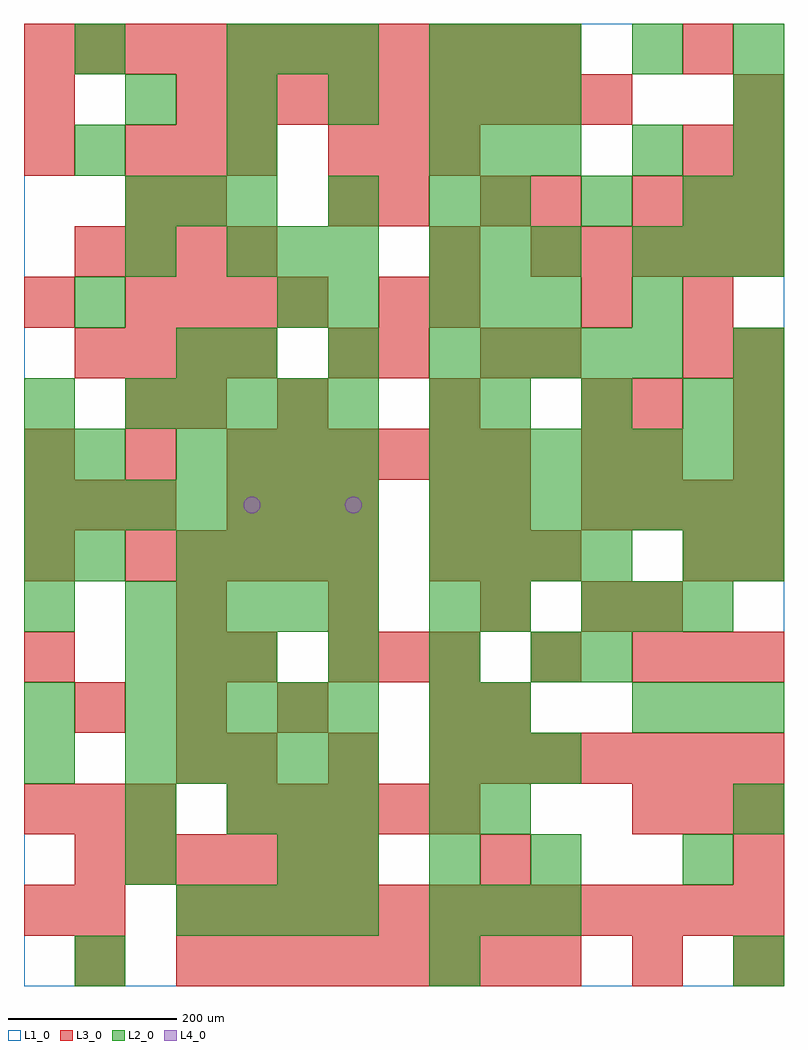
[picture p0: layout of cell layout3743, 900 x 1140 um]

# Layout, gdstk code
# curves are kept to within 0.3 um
import gdstk
lib = gdstk.Library(unit=1e-6, precision=1e-09)
def R(c, l, rs):  # rectangles x0, y0, x1, y1
    for r in rs: c.add(gdstk.rectangle(r[:2], r[2:], *l))
def A(c, l, x, y, w, h, nx, ny, dx, dy):  # array of equal rectangles
    R(c, l, [(x+i*dx, y+j*dy, x+i*dx+w, y+j*dy+h) for i in range(nx) for j in range(ny)])
def P(c, l, *ps):  # polygons
    for p in ps: c.add(gdstk.Polygon(p, *l))
L1_0 = (1, 0)
L2_0 = (2, 0)
L3_0 = (3, 0)
L4_0 = (4, 0)

layout3743 = lib.new_cell('layout3743')
R(layout3743, L1_0, [(0,0,900,1140)])
A(layout3743, L2_0, 180, 60, 60, 60, 4, 2, 60, 420)
A(layout3743, L2_0, 480, 60, 60, 60, 3, 2, 60, 180)
A(layout3743, L2_0, 360, 120, 60, 60, 3, 2, 120, 240)
A(layout3743, L2_0, 240, 180, 60, 60, 3, 2, 60, 660)
A(layout3743, L2_0, 480, 180, 60, 60, 1, 3, 0, 120)
A(layout3743, L2_0, 540, 180, 60, 60, 1, 3, 0, 120)
A(layout3743, L2_0, 120, 240, 60, 60, 5, 2, 60, 60)
A(layout3743, L2_0, 720, 300, 60, 60, 3, 2, 60, 540)
A(layout3743, L2_0, 120, 360, 60, 60, 3, 2, 60, 540)
A(layout3743, L2_0, 120, 420, 60, 60, 5, 2, 60, 240)
A(layout3743, L2_0, 660, 420, 60, 60, 3, 1, 60, 0)
A(layout3743, L2_0, 480, 480, 60, 60, 4, 1, 60, 0)
A(layout3743, L2_0, 0, 540, 60, 60, 7, 1, 60, 0)
A(layout3743, L2_0, 480, 540, 60, 60, 7, 2, 60, 60)
A(layout3743, L2_0, 60, 600, 60, 60, 1, 3, 0, 180)
A(layout3743, L2_0, 180, 600, 60, 60, 4, 1, 60, 0)
A(layout3743, L2_0, 540, 660, 60, 60, 3, 2, 120, 240)
A(layout3743, L2_0, 240, 720, 60, 60, 3, 1, 120, 0)
A(layout3743, L2_0, 540, 720, 60, 60, 4, 1, 60, 0)
A(layout3743, L2_0, 480, 780, 60, 60, 3, 2, 60, 60)
A(layout3743, L2_0, 840, 900, 60, 60, 1, 4, 0, 60)
A(layout3743, L2_0, 480, 960, 60, 60, 3, 2, 60, 120)
A(layout3743, L2_0, 120, 1020, 60, 60, 4, 1, 120, 0)
A(layout3743, L2_0, 240, 1080, 60, 60, 3, 1, 60, 0)
R(layout3743, L2_0, [(60,0,120,60), (480,0,540,60), (840,0,900,60), (120,120,180,180), (300,120,360,180), (780,120,840,180), (120,180,180,240), (840,180,900,240), (0,240,60,300), (0,300,60,360), (660,360,720,420), (0,420,60,480), (0,480,60,540), (60,480,120,540), (780,480,840,540), (840,480,900,540), (0,600,60,660), (0,660,60,720), (480,660,540,720), (840,660,900,720), (180,720,240,780), (840,720,900,780), (300,780,360,840), (360,780,420,840), (720,780,780,840), (120,840,180,900), (360,900,420,960), (480,900,540,960), (240,960,300,1020), (720,960,780,1020), (540,1020,600,1080), (600,1020,660,1080), (60,1080,120,1140), (720,1080,780,1140)])
A(layout3743, L3_0, 180, 0, 60, 60, 8, 1, 60, 0)
A(layout3743, L3_0, 180, 60, 60, 60, 12, 1, 60, 0)
A(layout3743, L3_0, 60, 120, 60, 60, 6, 1, 60, 0)
A(layout3743, L3_0, 0, 180, 60, 60, 3, 2, 60, 360)
A(layout3743, L3_0, 240, 180, 60, 60, 5, 1, 60, 0)
A(layout3743, L3_0, 720, 180, 60, 60, 3, 2, 60, 180)
A(layout3743, L3_0, 240, 240, 60, 60, 3, 1, 120, 0)
A(layout3743, L3_0, 540, 240, 60, 60, 6, 1, 60, 0)
A(layout3743, L3_0, 60, 300, 60, 60, 3, 1, 120, 0)
A(layout3743, L3_0, 480, 300, 60, 60, 1, 3, 0, 240)
A(layout3743, L3_0, 360, 360, 60, 60, 3, 2, 60, 600)
A(layout3743, L3_0, 180, 420, 60, 60, 3, 1, 180, 0)
A(layout3743, L3_0, 660, 420, 60, 60, 1, 3, 0, 180)
A(layout3743, L3_0, 120, 480, 60, 60, 5, 1, 60, 0)
A(layout3743, L3_0, 480, 480, 60, 60, 3, 1, 60, 0)
A(layout3743, L3_0, 240, 540, 60, 60, 3, 1, 60, 0)
A(layout3743, L3_0, 540, 540, 60, 60, 1, 3, 0, 180)
A(layout3743, L3_0, 660, 540, 60, 60, 4, 1, 60, 0)
A(layout3743, L3_0, 0, 600, 60, 60, 3, 1, 120, 0)
A(layout3743, L3_0, 300, 600, 60, 60, 5, 1, 60, 0)
A(layout3743, L3_0, 840, 600, 60, 60, 1, 3, 0, 60)
A(layout3743, L3_0, 300, 660, 60, 60, 3, 1, 180, 0)
A(layout3743, L3_0, 60, 720, 60, 60, 4, 2, 60, 120)
A(layout3743, L3_0, 120, 780, 60, 60, 4, 1, 60, 0)
A(layout3743, L3_0, 600, 840, 60, 60, 5, 1, 60, 0)
A(layout3743, L3_0, 720, 900, 60, 60, 3, 1, 60, 0)
A(layout3743, L3_0, 120, 960, 60, 60, 3, 1, 60, 0)
A(layout3743, L3_0, 180, 1020, 60, 60, 9, 1, 60, 0)
A(layout3743, L3_0, 0, 1080, 60, 60, 11, 1, 60, 0)
R(layout3743, L3_0, [(60,0,120,60), (720,0,780,60), (840,0,900,60), (0,60,60,120), (60,60,120,120), (540,120,600,180), (840,120,900,180), (180,240,240,300), (540,300,600,360), (0,360,60,420), (180,360,240,420), (240,360,300,420), (600,360,660,420), (720,420,780,480), (0,480,60,540), (780,480,840,540), (840,480,900,540), (720,600,780,660), (120,660,180,720), (180,660,240,720), (720,660,780,720), (360,720,420,780), (420,720,480,780), (600,720,660,780), (780,720,840,780), (0,780,60,840), (420,780,480,840), (780,780,840,840), (480,840,540,900), (120,900,180,960), (180,900,240,960), (360,900,420,960), (420,900,480,960), (600,900,660,960), (0,960,60,1020), (780,960,840,1020), (840,960,900,1020), (0,1020,60,1080), (840,1020,900,1080), (780,1080,840,1140)])
P(layout3743, L4_0, [(280,570),(279.239,573.827),(277.071,577.071),(273.827,579.239),(270,580),(266.173,579.239),(262.929,577.071),(260.761,573.827),(260,570),(260.761,566.173),(262.929,562.929),(266.173,560.761),(270,560),(273.827,560.761),(277.071,562.929),(279.239,566.173)],
  [(400,570),(399.239,573.827),(397.071,577.071),(393.827,579.239),(390,580),(386.173,579.239),(382.929,577.071),(380.761,573.827),(380,570),(380.761,566.173),(382.929,562.929),(386.173,560.761),(390,560),(393.827,560.761),(397.071,562.929),(399.239,566.173)])

lib.write_gds('layout3743.gds')
